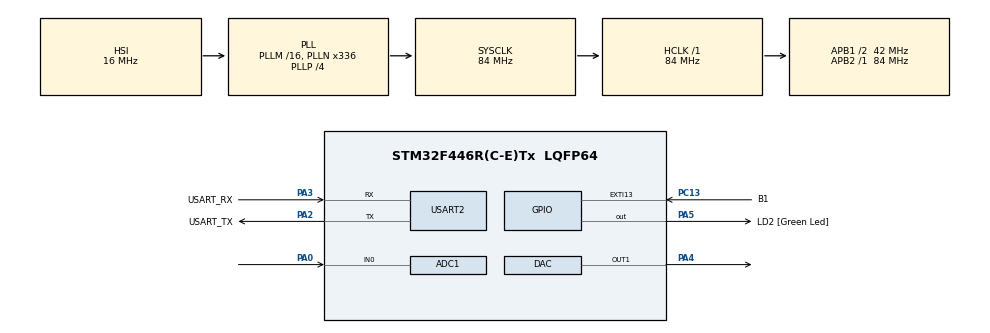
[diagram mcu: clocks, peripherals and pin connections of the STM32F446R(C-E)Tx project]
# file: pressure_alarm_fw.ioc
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ADC1.Channel-0\#ChannelRegularConversion=ADC_CHANNEL_0
ADC1.DMAContinuousRequests=ENABLE
ADC1.ExternalTrigConv=ADC_EXTERNALTRIGCONV_T3_TRGO
ADC1.NbrOfConversionFlag=1
ADC1.Rank-0\#ChannelRegularConversion=1
ADC1.SamplingTime-0\#ChannelRegularConversion=ADC_SAMPLETIME_480CYCLES
ADC1.master=1
DAC.DAC_OutputBuffer=DAC_OUTPUTBUFFER_DISABLE
Dma.ADC1.0.Direction=DMA_PERIPH_TO_MEMORY
Dma.ADC1.0.FIFOMode=DMA_FIFOMODE_DISABLE
Dma.ADC1.0.Instance=DMA2_Stream0
Dma.ADC1.0.MemDataAlignment=DMA_MDATAALIGN_HALFWORD
Dma.ADC1.0.MemInc=DMA_MINC_ENABLE
Dma.ADC1.0.Mode=DMA_CIRCULAR
Dma.ADC1.0.PeriphDataAlignment=DMA_PDATAALIGN_HALFWORD
Dma.ADC1.0.PeriphInc=DMA_PINC_DISABLE
Dma.ADC1.0.Priority=DMA_PRIORITY_LOW
Dma.Request0=ADC1
Mcu.Family=STM32F4
Mcu.Name=STM32F446R(C-E)Tx
Mcu.Package=LQFP64
NVIC.DMA2_Stream0_IRQn=true\:0\:0\:false\:false\:true\:false\:true\:true
NVIC.EXTI15_10_IRQn=true\:0\:0\:false\:false\:true\:true\:true\:true
NVIC.PriorityGroup=NVIC_PRIORITYGROUP_0
NVIC.TIM6_DAC_IRQn=true\:0\:0\:false\:false\:true\:true\:true\:true
PA0-WKUP.Signal=ADCx_IN0
PA13.GPIO_Label=TMS
PA13.Mode=Serial_Wire
PA13.Signal=SYS_JTMS-SWDIO
PA14.GPIO_Label=TCK
PA14.Mode=Serial_Wire
PA14.Signal=SYS_JTCK-SWCLK
PA2.GPIO_Label=USART_TX
PA2.Mode=Asynchronous
PA2.Signal=USART2_TX
PA3.GPIO_Label=USART_RX
PA3.Mode=Asynchronous
PA3.Signal=USART2_RX
PA4.Signal=COMP_DAC1_group
PA5.GPIO_Label=LD2 [Green Led]
PA5.Signal=GPIO_Output
PB3.GPIO_Label=SWO
PB3.Signal=SYS_JTDO-SWO
PC13.GPIO_Label=B1
PC13.GPIO_ModeDefaultEXTI=GPIO_MODE_IT_RISING_FALLING
PC13.Signal=GPXTI13
PC14-OSC32_IN.Mode=LSE-External-Oscillator
PC14-OSC32_IN.Signal=RCC_OSC32_IN
PC15-OSC32_OUT.Mode=LSE-External-Oscillator
PC15-OSC32_OUT.Signal=RCC_OSC32_OUT
PH0-OSC_IN.Mode=HSE-External-Oscillator
PH0-OSC_IN.Signal=RCC_OSC_IN
PH1-OSC_OUT.Mode=HSE-External-Oscillator
PH1-OSC_OUT.Signal=RCC_OSC_OUT
ProjectManager.HeapSize=0x200
ProjectManager.StackSize=0x400
ProjectManager.TargetToolchain=STM32CubeIDE
RCC.48MHZClocksFreq_Value=84000000
RCC.AHBFreq_Value=84000000
RCC.APB1CLKDivider=RCC_HCLK_DIV2
RCC.APB1Freq_Value=42000000
RCC.APB1TimFreq_Value=84000000
RCC.APB2Freq_Value=84000000
RCC.APB2TimFreq_Value=84000000
RCC.CortexFreq_Value=84000000
RCC.FLatency-AdvancedSettings=FLASH_LATENCY_2
RCC.HCLKFreq_Value=84000000
RCC.HSE_VALUE=8000000
RCC.HSI_VALUE=16000000
RCC.PLLN=336
RCC.PLLP=RCC_PLLP_DIV4
RCC.SYSCLKFreq_VALUE=84000000
RCC.SYSCLKSource=RCC_SYSCLKSOURCE_PLLCLK
RCC.USBFreq_Value=168000000
RCC.VCOOutputFreq_Value=336000000
SH.ADCx_IN0.0=ADC1_IN0,IN0
SH.COMP_DAC1_group.0=DAC_OUT1,DAC_OUT1
TIM3.Period=1000-1
TIM3.Prescaler=84 - 1
TIM3.TIM_MasterOutputTrigger=TIM_TRGO_UPDATE
TIM6.Period=1000-1
TIM6.Prescaler=84 - 1
USART2.VirtualMode=VM_ASYNC
VP_TIM3_VS_ClockSourceINT.Mode=Internal
VP_TIM6_VS_ClockSourceINT.Mode=Enable_Timer
board=NUCLEO-F446RE

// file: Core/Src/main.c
/* USER CODE BEGIN Header */
/**
 ******************************************************************************
 * @file           : main.c
 * @brief          : Main program body
 ******************************************************************************
 * @attention
 *
 * Copyright (c) 2026 STMicroelectronics.
 * All rights reserved.
 *
 * This software is licensed under terms that can be found in the LICENSE file
 * in the root directory of this software component.
 * If no LICENSE file comes with this software, it is provided AS-IS.
 *
 ******************************************************************************
 */
/* USER CODE END Header */
#include "main.h"

/* USER CODE BEGIN Includes */
#include <stdio.h>
#include <string.h>
#include "alarm.h"
/* USER CODE END Includes */

ADC_HandleTypeDef hadc1;
DMA_HandleTypeDef hdma_adc1;

DAC_HandleTypeDef hdac;

TIM_HandleTypeDef htim3;
TIM_HandleTypeDef htim6;

UART_HandleTypeDef huart2;

/* USER CODE BEGIN PV */
int counter = 5;
volatile uint32_t button_count = 0;
volatile uint8_t tick_1s = 0;
volatile uint8_t tick_1ms = 0;
#define ADC_BUF_LEN 40
volatile uint16_t adc_buf[ADC_BUF_LEN];

volatile uint32_t adc_avg = 0;
volatile uint32_t adc_halves = 0;
alarm_t alarm;
volatile uint8_t tick_100ms = 0;
volatile uint8_t ack_request = 0; /* set by the button ISR, handled in the main loop */

/* Simulated transmitter: each step holds for SCENARIO_STEP_S seconds.
 * DAC code = (4 mA + bar * 1.6 mA) * 150 ohm / 3.3 V * 4095 */
#define SCENARIO_STEP_S 5
static const struct {
	uint16_t dac;
	const char *what;
} scenario[] = { { 1936, "4.0 bar, normal" }, { 1638, "3.0 bar, low" }, { 1727,
		"3.3 bar, still low (hysteresis)" }, { 1817, "3.6 bar, low clears" }, {
		2293, "5.2 bar, high" }, { 1936, "4.0 bar, normal" },
		{ 0, "wire broken" }, };
#define SCENARIO_LEN (sizeof(scenario) / sizeof(scenario[0]))

static const char *const state_name[] = { "NORMAL", "LOW", "HIGH",
		"SENSOR_FAULT" };

/* USER CODE END PV */

void SystemClock_Config(void);
static void MX_GPIO_Init(void);
static void MX_DMA_Init(void);
static void MX_USART2_UART_Init(void);
static void MX_TIM6_Init(void);
static void MX_ADC1_Init(void);
static void MX_DAC_Init(void);
static void MX_TIM3_Init(void);

/* USER CODE BEGIN 0 */
void my_putc(char c) {
	while (!(USART2->SR & USART_SR_TXE)) {
	}
	USART2->DR = c;
}

void my_puts(const char *s) {
	while (*s != '\0') {
		my_putc(*s);
		s++;
	}
}

#define VREF	    3.3f
#define ADC_MAX		4095.0f
#define SHUNT_OHM	150.0f
#define P_MAX_BAR   10.0f

float adc_to_ma(uint32_t adc) {
	float volt = adc * VREF / ADC_MAX;

	return volt * 1000 / SHUNT_OHM;

}

float ma_to_bar(float ma) {
	return (ma - 4.0f) * P_MAX_BAR / 16.0f;
}

/* USER CODE END 0 */

int main(void) {

	/* MCU Configuration--------------------------------------------------------*/

	/* Reset of all peripherals, Initializes the Flash interface and the Systick. */
	HAL_Init();

	/* Configure the system clock */
	SystemClock_Config();

	/* Initialize all configured peripherals */
	MX_GPIO_Init();
	MX_DMA_Init();
	MX_USART2_UART_Init();
	MX_TIM6_Init();
	MX_ADC1_Init();
	MX_DAC_Init();
	MX_TIM3_Init();
	/* USER CODE BEGIN 2 */
	CoreDebug->DEMCR |= CoreDebug_DEMCR_TRCENA_Msk;
	DWT->CYCCNT = 0;
	DWT->CTRL |= DWT_CTRL_CYCCNTENA_Msk;
	HAL_TIM_Base_Start_IT(&htim6);
	HAL_DAC_Start(&hdac, DAC_CHANNEL_1);
	HAL_ADC_Start_DMA(&hadc1, (uint32_t*) adc_buf, ADC_BUF_LEN);
	HAL_TIM_Base_Start(&htim3);
	alarm_init(&alarm);
	/* USER CODE END 2 */

	/* Infinite loop */
	while (1) {

		/* USER CODE BEGIN 3 */

		/* Blue button: acknowledge the alarm (silence only, state stays). */
		if (ack_request) {
			ack_request = 0;
			alarm_acknowledge(&alarm);
		}

		/* Every 100 ms: run the alarm logic and drive the LED. */
		if (tick_100ms) {
			static uint32_t led_tick = 0;
			tick_100ms = 0;
			alarm_update(&alarm, adc_to_ma(adc_avg), 100);

			/* LED: slow blink = normal, fast = pressure alarm,
			 * medium = sensor fault, steady on = acknowledged. */
			led_tick++;
			uint32_t period;
			if (alarm.state == ALARM_NORMAL) {
				period = 5; /* toggle every 500 ms */
			} else if (!alarm.buzzer) {
				period = 0; /* acknowledged: steady on */
			} else if (alarm.state == ALARM_SENSOR_FAULT) {
				period = 2; /* toggle every 200 ms */
			} else {
				period = 1; /* toggle every 100 ms */
			}
			if (period == 0) {
				HAL_GPIO_WritePin(LD2_GPIO_Port, LD2_Pin, GPIO_PIN_SET);
			} else if (led_tick % period == 0) {
				HAL_GPIO_TogglePin(LD2_GPIO_Port, LD2_Pin);
			}
		}

		/* Every second: step the simulated sensor and print one status line. */
		if (tick_1s) {
			static uint32_t seconds = 0;
			tick_1s = 0;

			uint32_t step = (seconds / SCENARIO_STEP_S) % SCENARIO_LEN;
			HAL_DAC_SetValue(&hdac, DAC_CHANNEL_1, DAC_ALIGN_12B_R,
					scenario[step].dac);

			char msg[96];
			int bar100 = (int) (ma_to_bar(adc_to_ma(adc_avg)) * 100);
			if (bar100 < 0) {
				bar100 = 0;
			}
			snprintf(msg, sizeof(msg),
					"t=%3lus  %2d.%02d bar  %-12s buzzer=%d  [%s]\r\n", seconds,
					bar100 / 100, bar100 % 100, state_name[alarm.state],
					alarm.buzzer, scenario[step].what);
			my_puts(msg);
			seconds++;
		}
	}
	/* USER CODE END 3 */
}

void SystemClock_Config(void) {
	RCC_OscInitTypeDef RCC_OscInitStruct = { 0 };
	RCC_ClkInitTypeDef RCC_ClkInitStruct = { 0 };

	/** Configure the main internal regulator output voltage
	 */
	__HAL_RCC_PWR_CLK_ENABLE();
	__HAL_PWR_VOLTAGESCALING_CONFIG(PWR_REGULATOR_VOLTAGE_SCALE3);

	/** Initializes the RCC Oscillators according to the specified parameters
	 * in the RCC_OscInitTypeDef structure.
	 */
	RCC_OscInitStruct.OscillatorType = RCC_OSCILLATORTYPE_HSI;
	RCC_OscInitStruct.HSIState = RCC_HSI_ON;
	RCC_OscInitStruct.HSICalibrationValue = RCC_HSICALIBRATION_DEFAULT;
	RCC_OscInitStruct.PLL.PLLState = RCC_PLL_ON;
	RCC_OscInitStruct.PLL.PLLSource = RCC_PLLSOURCE_HSI;
	RCC_OscInitStruct.PLL.PLLM = 16;
	RCC_OscInitStruct.PLL.PLLN = 336;
	RCC_OscInitStruct.PLL.PLLP = RCC_PLLP_DIV4;
	RCC_OscInitStruct.PLL.PLLQ = 2;
	RCC_OscInitStruct.PLL.PLLR = 2;
	if (HAL_RCC_OscConfig(&RCC_OscInitStruct) != HAL_OK) {
		Error_Handler();
	}

	/** Initializes the CPU, AHB and APB buses clocks
	 */
	RCC_ClkInitStruct.ClockType = RCC_CLOCKTYPE_HCLK | RCC_CLOCKTYPE_SYSCLK
			| RCC_CLOCKTYPE_PCLK1 | RCC_CLOCKTYPE_PCLK2;
	RCC_ClkInitStruct.SYSCLKSource = RCC_SYSCLKSOURCE_PLLCLK;
	RCC_ClkInitStruct.AHBCLKDivider = RCC_SYSCLK_DIV1;
	RCC_ClkInitStruct.APB1CLKDivider = RCC_HCLK_DIV2;
	RCC_ClkInitStruct.APB2CLKDivider = RCC_HCLK_DIV1;

	if (HAL_RCC_ClockConfig(&RCC_ClkInitStruct, FLASH_LATENCY_2) != HAL_OK) {
		Error_Handler();
	}
}

static void MX_ADC1_Init(void) {

	ADC_ChannelConfTypeDef sConfig = { 0 };

	/** Configure the global features of the ADC (Clock, Resolution, Data Alignment and number of conversion)
	 */
	hadc1.Instance = ADC1;
	hadc1.Init.ClockPrescaler = ADC_CLOCK_SYNC_PCLK_DIV4;
	hadc1.Init.Resolution = ADC_RESOLUTION_12B;
	hadc1.Init.ScanConvMode = DISABLE;
	hadc1.Init.ContinuousConvMode = DISABLE;
	hadc1.Init.DiscontinuousConvMode = DISABLE;
	hadc1.Init.ExternalTrigConvEdge = ADC_EXTERNALTRIGCONVEDGE_RISING;
	hadc1.Init.ExternalTrigConv = ADC_EXTERNALTRIGCONV_T3_TRGO;
	hadc1.Init.DataAlign = ADC_DATAALIGN_RIGHT;
	hadc1.Init.NbrOfConversion = 1;
	hadc1.Init.DMAContinuousRequests = ENABLE;
	hadc1.Init.EOCSelection = ADC_EOC_SINGLE_CONV;
	if (HAL_ADC_Init(&hadc1) != HAL_OK) {
		Error_Handler();
	}

	/** Configure for the selected ADC regular channel its corresponding rank in the sequencer and its sample time.
	 */
	sConfig.Channel = ADC_CHANNEL_0;
	sConfig.Rank = 1;
	sConfig.SamplingTime = ADC_SAMPLETIME_480CYCLES;
	if (HAL_ADC_ConfigChannel(&hadc1, &sConfig) != HAL_OK) {
		Error_Handler();
	}

}

static void MX_DAC_Init(void) {

	DAC_ChannelConfTypeDef sConfig = { 0 };

	/** DAC Initialization
	 */
	hdac.Instance = DAC;
	if (HAL_DAC_Init(&hdac) != HAL_OK) {
		Error_Handler();
	}

	/** DAC channel OUT1 config
	 */
	sConfig.DAC_Trigger = DAC_TRIGGER_NONE;
	sConfig.DAC_OutputBuffer = DAC_OUTPUTBUFFER_DISABLE;
	if (HAL_DAC_ConfigChannel(&hdac, &sConfig, DAC_CHANNEL_1) != HAL_OK) {
		Error_Handler();
	}

}

static void MX_TIM3_Init(void) {

	TIM_ClockConfigTypeDef sClockSourceConfig = { 0 };
	TIM_MasterConfigTypeDef sMasterConfig = { 0 };

	htim3.Instance = TIM3;
	htim3.Init.Prescaler = 84 - 1;
	htim3.Init.CounterMode = TIM_COUNTERMODE_UP;
	htim3.Init.Period = 1000 - 1;
	htim3.Init.ClockDivision = TIM_CLOCKDIVISION_DIV1;
	htim3.Init.AutoReloadPreload = TIM_AUTORELOAD_PRELOAD_DISABLE;
	if (HAL_TIM_Base_Init(&htim3) != HAL_OK) {
		Error_Handler();
	}
	sClockSourceConfig.ClockSource = TIM_CLOCKSOURCE_INTERNAL;
	if (HAL_TIM_ConfigClockSource(&htim3, &sClockSourceConfig) != HAL_OK) {
		Error_Handler();
	}
	sMasterConfig.MasterOutputTrigger = TIM_TRGO_UPDATE;
	sMasterConfig.MasterSlaveMode = TIM_MASTERSLAVEMODE_DISABLE;
	if (HAL_TIMEx_MasterConfigSynchronization(&htim3, &sMasterConfig)
			!= HAL_OK) {
		Error_Handler();
	}

}

static void MX_TIM6_Init(void) {

	TIM_MasterConfigTypeDef sMasterConfig = { 0 };

	htim6.Instance = TIM6;
	htim6.Init.Prescaler = 84 - 1;
	htim6.Init.CounterMode = TIM_COUNTERMODE_UP;
	htim6.Init.Period = 1000 - 1;
	htim6.Init.AutoReloadPreload = TIM_AUTORELOAD_PRELOAD_DISABLE;
	if (HAL_TIM_Base_Init(&htim6) != HAL_OK) {
		Error_Handler();
	}
	sMasterConfig.MasterOutputTrigger = TIM_TRGO_RESET;
	sMasterConfig.MasterSlaveMode = TIM_MASTERSLAVEMODE_DISABLE;
	if (HAL_TIMEx_MasterConfigSynchronization(&htim6, &sMasterConfig)
			!= HAL_OK) {
		Error_Handler();
	}

}

static void MX_USART2_UART_Init(void) {

	huart2.Instance = USART2;
	huart2.Init.BaudRate = 115200;
	huart2.Init.WordLength = UART_WORDLENGTH_8B;
	huart2.Init.StopBits = UART_STOPBITS_1;
	huart2.Init.Parity = UART_PARITY_NONE;
	huart2.Init.Mode = UART_MODE_TX_RX;
	huart2.Init.HwFlowCtl = UART_HWCONTROL_NONE;
	huart2.Init.OverSampling = UART_OVERSAMPLING_16;
	if (HAL_UART_Init(&huart2) != HAL_OK) {
		Error_Handler();
	}

}

static void MX_DMA_Init(void) {

	/* DMA controller clock enable */
	__HAL_RCC_DMA2_CLK_ENABLE();

	/* DMA interrupt init */
	/* DMA2_Stream0_IRQn interrupt configuration */
	HAL_NVIC_SetPriority(DMA2_Stream0_IRQn, 0, 0);
	HAL_NVIC_EnableIRQ(DMA2_Stream0_IRQn);

}

static void MX_GPIO_Init(void) {
	GPIO_InitTypeDef GPIO_InitStruct = { 0 };

	/* GPIO Ports Clock Enable */
	__HAL_RCC_GPIOC_CLK_ENABLE();
	__HAL_RCC_GPIOH_CLK_ENABLE();
	__HAL_RCC_GPIOA_CLK_ENABLE();
	__HAL_RCC_GPIOB_CLK_ENABLE();

	/*Configure GPIO pin Output Level */
	HAL_GPIO_WritePin(LD2_GPIO_Port, LD2_Pin, GPIO_PIN_RESET);

	/*Configure GPIO pin : B1_Pin */
	GPIO_InitStruct.Pin = B1_Pin;
	GPIO_InitStruct.Mode = GPIO_MODE_IT_RISING_FALLING;
	GPIO_InitStruct.Pull = GPIO_NOPULL;
	HAL_GPIO_Init(B1_GPIO_Port, &GPIO_InitStruct);

	/*Configure GPIO pin : LD2_Pin */
	GPIO_InitStruct.Pin = LD2_Pin;
	GPIO_InitStruct.Mode = GPIO_MODE_OUTPUT_PP;
	GPIO_InitStruct.Pull = GPIO_NOPULL;
	GPIO_InitStruct.Speed = GPIO_SPEED_FREQ_LOW;
	HAL_GPIO_Init(LD2_GPIO_Port, &GPIO_InitStruct);

	/* EXTI interrupt init*/
	HAL_NVIC_SetPriority(EXTI15_10_IRQn, 0, 0);
	HAL_NVIC_EnableIRQ(EXTI15_10_IRQn);

}

/* USER CODE BEGIN 4 */
static uint32_t average(const volatile uint16_t *p, int n) {
	uint32_t sum = 0;

	for (int i = 0; i < n; i++) {
		sum += p[i];
	}
	return sum / n;
}

void HAL_ADC_ConvHalfCpltCallback(ADC_HandleTypeDef *hadc) {

	if (hadc == &hadc1) {
		adc_avg = average(adc_buf, ADC_BUF_LEN / 2);
		adc_halves++;
	}

}
void HAL_ADC_ConvCpltCallback(ADC_HandleTypeDef *hadc) {
	if (hadc == &hadc1) {
		adc_avg = average(&adc_buf[ADC_BUF_LEN / 2], ADC_BUF_LEN / 2);
		adc_halves++;
	}
}
/* Debounce: count a press when the pin is low and no edge (press or release)
 * happened in the last 50 ms. Bounce on both press and release is ignored.
 * A counted press asks the main loop to acknowledge the alarm. */
void HAL_GPIO_EXTI_Callback(uint16_t GPIO_Pin) {
	static uint32_t last_edge_ms = 0;

	if (GPIO_Pin == B1_Pin) {
		uint32_t now = HAL_GetTick();

		if (HAL_GPIO_ReadPin(B1_GPIO_Port, B1_Pin) == GPIO_PIN_RESET
				&& now - last_edge_ms >= 50) {
			button_count++;
			ack_request = 1;
		}

		last_edge_ms = now;
	}
}

/* TIM6 overflows every 1 ms: (ARR+1)(PSC+1)/f = 1000 * 84 / 84 MHz. */
void HAL_TIM_PeriodElapsedCallback(TIM_HandleTypeDef *htim) {
	static uint32_t ms = 0;

	if (htim == &htim6) {
		tick_1ms = 1;          // every interrupt = 1 ms
		ms++;
		if (ms % 100 == 0) {
			tick_100ms = 1;
		}
		if (ms >= 1000) {      // 1000 interrupts = 1 s
			ms = 0;
			tick_1s = 1;
		}
	}
}

/* USER CODE END 4 */

void Error_Handler(void) {
	__disable_irq();
	while (1) {
	}
}
